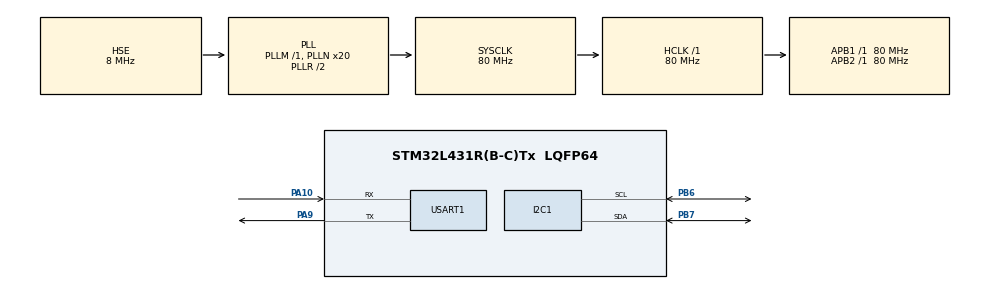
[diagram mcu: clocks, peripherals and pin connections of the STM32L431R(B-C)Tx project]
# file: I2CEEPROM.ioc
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Mcu.Family=STM32L4
Mcu.Name=STM32L431R(B-C)Tx
Mcu.Package=LQFP64
NVIC.PriorityGroup=NVIC_PRIORITYGROUP_4
PA10.Mode=Asynchronous
PA10.Signal=USART1_RX
PA9.Mode=Asynchronous
PA9.Signal=USART1_TX
PB6.Mode=I2C
PB6.Signal=I2C1_SCL
PB7.Mode=I2C
PB7.Signal=I2C1_SDA
PC14-OSC32_IN\ (PC14).Mode=LSE-External-Oscillator
PC14-OSC32_IN\ (PC14).Signal=RCC_OSC32_IN
PC15-OSC32_OUT\ (PC15).Mode=LSE-External-Oscillator
PC15-OSC32_OUT\ (PC15).Signal=RCC_OSC32_OUT
PH0-OSC_IN\ (PH0).Mode=HSE-External-Oscillator
PH0-OSC_IN\ (PH0).Signal=RCC_OSC_IN
PH1-OSC_OUT\ (PH1).Mode=HSE-External-Oscillator
PH1-OSC_OUT\ (PH1).Signal=RCC_OSC_OUT
ProjectManager.HeapSize=0x200
ProjectManager.StackSize=0x400
ProjectManager.TargetToolchain=SW4STM32
RCC.ADCFreq_Value=32000000
RCC.AHBFreq_Value=80000000
RCC.APB1Freq_Value=80000000
RCC.APB1TimFreq_Value=80000000
RCC.APB2Freq_Value=80000000
RCC.APB2TimFreq_Value=80000000
RCC.CortexFreq_Value=80000000
RCC.HCLKFreq_Value=80000000
RCC.HSE_VALUE=8000000
RCC.HSI48_VALUE=48000000
RCC.HSI_VALUE=16000000
RCC.MSI_VALUE=4000000
RCC.PLLN=20
RCC.PLLSourceVirtual=RCC_PLLSOURCE_HSE
RCC.SYSCLKFreq_VALUE=80000000
RCC.SYSCLKSource=RCC_SYSCLKSOURCE_PLLCLK
RCC.VCOOutputFreq_Value=160000000
USART1.VirtualMode-Asynchronous=VM_ASYNC
board=custom

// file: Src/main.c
/* USER CODE BEGIN Header */
/**
  ******************************************************************************
  * @file           : main.c
  * @brief          : Main program body
  ******************************************************************************
  * @attention
  *
  * <h2><center>&copy; Copyright (c) 2020 STMicroelectronics.
  * All rights reserved.</center></h2>
  *
  * This software component is licensed by ST under BSD 3-Clause license,
  * the "License"; You may not use this file except in compliance with the
  * License. You may obtain a copy of the License at:
  *                        opensource.org/licenses/BSD-3-Clause
  *
  ******************************************************************************
  */
/* USER CODE END Header */

#include "main.h"
#include "i2c.h"
#include "usart.h"
#include "gpio.h"
#include "at24c02_i2c_drv.h"

#define TESTReadWrite 0
#define TESTReadWriteMultiple 1

#if 1
#include <stdio.h>

int _write(int fd, char *ptr, int len)
{
    HAL_UART_Transmit(&huart1, (uint8_t*)ptr, len, 0xFFFF);
    return len;
}
#endif

void SystemClock_Config(void);

int main(void)
{
  /* USER CODE BEGIN 1 */
  int i = 0;
#if TESTReadWrite
  uint8_t write_dat = 0xa5;
  uint8_t read_buf = 0;
#endif

#if TESTReadWriteMultiple
  uint8_t write_dat[22] = {0};
  uint8_t recv_buf[22] = {0};
#endif

  /* USER CODE END 1 */

  /* MCU Configuration--------------------------------------------------------*/

  /* Reset of all peripherals, Initializes the Flash interface and the Systick. */
  HAL_Init();

  /* Configure the system clock */
  SystemClock_Config();

  /* Initialize all configured peripherals */
  MX_GPIO_Init();
  MX_I2C1_Init();
  MX_USART1_UART_Init();
  /* USER CODE BEGIN 2 */
#if TESTReadWrite
  if(HAL_OK == At24c02_Write_Byte(10, &write_dat)){
      printf("Write ok\n");
  }
  else{
      printf("Write fail\n");
  }

  HAL_Delay(50); //写一次和读一次之间需要短暂的延时

  if(HAL_OK == At24c02_Read_Byte(10, &read_buf)){
      printf("Read ok, read_buf = 0x%02x\n", read_buf);
  }
  else{
      printf("Read fail\n");
  }
#endif

#if TESTReadWriteMultiple
  printf("------ test start ------\n");
  for(i = 0; i < 22; ++i){
      write_dat[i] = i+5;
      printf("%02X ", write_dat[i]);
      if((i+1)%8 == 0){
          printf("\n");
      }
  }
  printf("\n*****************\n");
  if(HAL_OK == At24c02_Write_Amount_Byte(5, write_dat, 22)){
      printf("Write ok!\n");
  }
  else{
      printf("write fail\n");
  }
  HAL_Delay(50);
  if(HAL_OK == At24c02_Read_Amount_Byte(5, recv_buf, 22)){
      printf("read ok\n");
      for(i = 0; i < 22; ++i){
          printf("%02X ", recv_buf[i]);
          if((i+1)%8 == 0){
              printf("\n");
          }
      }
      printf("\n*****************\n");
  }
  else{
      printf("read fail\n");
  }
  printf("------ test end ------\n");
#endif

  /* USER CODE END 2 */

  /* Infinite loop */
  while (1)
  {

  }
}

void SystemClock_Config(void)
{
  RCC_OscInitTypeDef RCC_OscInitStruct = {0};
  RCC_ClkInitTypeDef RCC_ClkInitStruct = {0};
  RCC_PeriphCLKInitTypeDef PeriphClkInit = {0};

  /** Initializes the CPU, AHB and APB busses clocks
  */
  RCC_OscInitStruct.OscillatorType = RCC_OSCILLATORTYPE_HSE;
  RCC_OscInitStruct.HSEState = RCC_HSE_ON;
  RCC_OscInitStruct.PLL.PLLState = RCC_PLL_ON;
  RCC_OscInitStruct.PLL.PLLSource = RCC_PLLSOURCE_HSE;
  RCC_OscInitStruct.PLL.PLLM = 1;
  RCC_OscInitStruct.PLL.PLLN = 20;
  RCC_OscInitStruct.PLL.PLLP = RCC_PLLP_DIV7;
  RCC_OscInitStruct.PLL.PLLQ = RCC_PLLQ_DIV2;
  RCC_OscInitStruct.PLL.PLLR = RCC_PLLR_DIV2;
  if (HAL_RCC_OscConfig(&RCC_OscInitStruct) != HAL_OK)
  {
    Error_Handler();
  }
  /** Initializes the CPU, AHB and APB busses clocks
  */
  RCC_ClkInitStruct.ClockType = RCC_CLOCKTYPE_HCLK|RCC_CLOCKTYPE_SYSCLK
                              |RCC_CLOCKTYPE_PCLK1|RCC_CLOCKTYPE_PCLK2;
  RCC_ClkInitStruct.SYSCLKSource = RCC_SYSCLKSOURCE_PLLCLK;
  RCC_ClkInitStruct.AHBCLKDivider = RCC_SYSCLK_DIV1;
  RCC_ClkInitStruct.APB1CLKDivider = RCC_HCLK_DIV1;
  RCC_ClkInitStruct.APB2CLKDivider = RCC_HCLK_DIV1;

  if (HAL_RCC_ClockConfig(&RCC_ClkInitStruct, FLASH_LATENCY_4) != HAL_OK)
  {
    Error_Handler();
  }
  PeriphClkInit.PeriphClockSelection = RCC_PERIPHCLK_USART1|RCC_PERIPHCLK_I2C1;
  PeriphClkInit.Usart1ClockSelection = RCC_USART1CLKSOURCE_PCLK2;
  PeriphClkInit.I2c1ClockSelection = RCC_I2C1CLKSOURCE_PCLK1;
  if (HAL_RCCEx_PeriphCLKConfig(&PeriphClkInit) != HAL_OK)
  {
    Error_Handler();
  }
  /** Configure the main internal regulator output voltage
  */
  if (HAL_PWREx_ControlVoltageScaling(PWR_REGULATOR_VOLTAGE_SCALE1) != HAL_OK)
  {
    Error_Handler();
  }
}

void Error_Handler(void)
{
}

/************************ (C) COPYRIGHT STMicroelectronics *****END OF FILE****/
